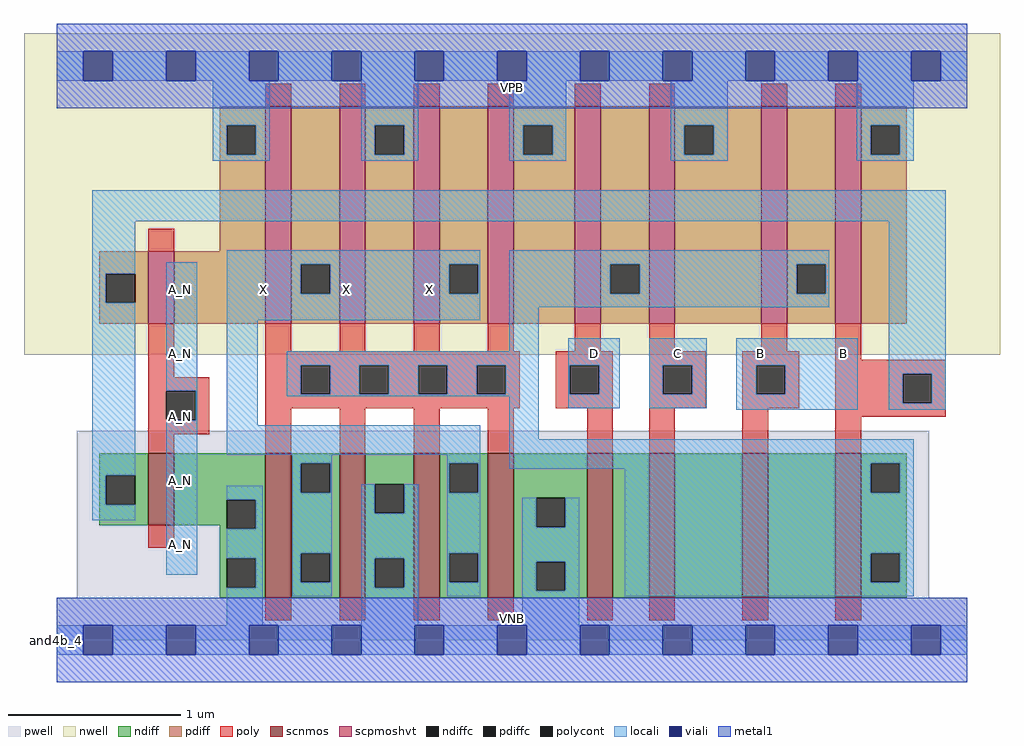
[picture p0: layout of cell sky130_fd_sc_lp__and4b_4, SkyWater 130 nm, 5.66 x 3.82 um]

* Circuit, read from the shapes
.subckt sky130_fd_sc_lp__and4b_4 A_N B C D VGND VNB VPB VPWR X
XM1 VGND A_N n1 VNB sky130_fd_pr__nfet_01v8 w=0.42 l=0.15
XM2 X n2 VGND VNB sky130_fd_pr__nfet_01v8 w=0.84 l=0.15 m=4
XM3 n3 D VGND VNB sky130_fd_pr__nfet_01v8 w=0.84 l=0.15
XM4 n4 C n3 VNB sky130_fd_pr__nfet_01v8 w=0.84 l=0.15
XM5 n5 B n4 VNB sky130_fd_pr__nfet_01v8 w=0.84 l=0.15
XM6 n2 n1 n5 VNB sky130_fd_pr__nfet_01v8 w=0.84 l=0.15
XM7 VPWR A_N n1 VPB sky130_fd_pr__pfet_01v8_hvt w=0.42 l=0.15
XM8 X n2 VPWR VPB sky130_fd_pr__pfet_01v8_hvt w=1.26 l=0.15 m=4
XM9 n2 D VPWR VPB sky130_fd_pr__pfet_01v8_hvt w=1.26 l=0.15
XM10 VPWR C n2 VPB sky130_fd_pr__pfet_01v8_hvt w=1.26 l=0.15
XM11 n2 B VPWR VPB sky130_fd_pr__pfet_01v8_hvt w=1.26 l=0.15
XM12 VPWR n1 n2 VPB sky130_fd_pr__pfet_01v8_hvt w=1.26 l=0.15
.ends

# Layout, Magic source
magic
tech sky130A
magscale 1 2
<< nwell >>
rect -38 331 1094 704
<< pwell >>
rect 23 49 1012 243
rect 0 0 1056 49
<< scnmos >>
rect 106 133 136 217
rect 242 49 272 217
rect 328 49 358 217
rect 414 49 444 217
rect 500 49 530 217
rect 615 49 645 217
rect 687 49 717 217
rect 795 49 825 217
rect 903 49 933 217
<< scpmoshvt >>
rect 106 367 136 451
rect 242 367 272 619
rect 328 367 358 619
rect 414 367 444 619
rect 500 367 530 619
rect 601 367 631 619
rect 687 367 717 619
rect 817 367 847 619
rect 903 367 933 619
<< ndiff >>
rect 49 191 106 217
rect 49 157 57 191
rect 91 157 106 191
rect 49 133 106 157
rect 136 163 242 217
rect 136 133 197 163
rect 189 129 197 133
rect 231 129 242 163
rect 189 95 242 129
rect 189 61 197 95
rect 231 61 242 95
rect 189 49 242 61
rect 272 205 328 217
rect 272 171 283 205
rect 317 171 328 205
rect 272 101 328 171
rect 272 67 283 101
rect 317 67 328 101
rect 272 49 328 67
rect 358 181 414 217
rect 358 147 369 181
rect 403 147 414 181
rect 358 95 414 147
rect 358 61 369 95
rect 403 61 414 95
rect 358 49 414 61
rect 444 205 500 217
rect 444 171 455 205
rect 489 171 500 205
rect 444 101 500 171
rect 444 67 455 101
rect 489 67 500 101
rect 444 49 500 67
rect 530 165 615 217
rect 530 131 556 165
rect 590 131 615 165
rect 530 91 615 131
rect 530 57 556 91
rect 590 57 615 91
rect 530 49 615 57
rect 645 49 687 217
rect 717 49 795 217
rect 825 49 903 217
rect 933 205 986 217
rect 933 171 944 205
rect 978 171 986 205
rect 933 101 986 171
rect 933 67 944 101
rect 978 67 986 101
rect 933 49 986 67
<< pdiff >>
rect 189 597 242 619
rect 189 563 197 597
rect 231 563 242 597
rect 189 451 242 563
rect 49 425 106 451
rect 49 391 57 425
rect 91 391 106 425
rect 49 367 106 391
rect 136 367 242 451
rect 272 436 328 619
rect 272 402 283 436
rect 317 402 328 436
rect 272 367 328 402
rect 358 597 414 619
rect 358 563 369 597
rect 403 563 414 597
rect 358 367 414 563
rect 444 436 500 619
rect 444 402 455 436
rect 489 402 500 436
rect 444 367 500 402
rect 530 597 601 619
rect 530 563 541 597
rect 575 563 601 597
rect 530 367 601 563
rect 631 436 687 619
rect 631 402 642 436
rect 676 402 687 436
rect 631 367 687 402
rect 717 597 817 619
rect 717 563 728 597
rect 762 563 817 597
rect 717 367 817 563
rect 847 436 903 619
rect 847 402 858 436
rect 892 402 903 436
rect 847 367 903 402
rect 933 597 986 619
rect 933 563 944 597
rect 978 563 986 597
rect 933 367 986 563
<< ndiffc >>
rect 57 157 91 191
rect 197 129 231 163
rect 197 61 231 95
rect 283 171 317 205
rect 283 67 317 101
rect 369 147 403 181
rect 369 61 403 95
rect 455 171 489 205
rect 455 67 489 101
rect 556 131 590 165
rect 556 57 590 91
rect 944 171 978 205
rect 944 67 978 101
<< pdiffc >>
rect 197 563 231 597
rect 57 391 91 425
rect 283 402 317 436
rect 369 563 403 597
rect 455 402 489 436
rect 541 563 575 597
rect 642 402 676 436
rect 728 563 762 597
rect 858 402 892 436
rect 944 563 978 597
<< poly >>
rect 242 619 272 645
rect 328 619 358 645
rect 414 619 444 645
rect 500 619 530 645
rect 601 619 631 645
rect 687 619 717 645
rect 817 619 847 645
rect 903 619 933 645
rect 106 451 136 477
rect 106 305 136 367
rect 242 335 272 367
rect 328 335 358 367
rect 414 335 444 367
rect 500 335 530 367
rect 601 335 631 367
rect 687 335 717 367
rect 817 335 847 367
rect 242 319 537 335
rect 106 289 177 305
rect 106 255 127 289
rect 161 255 177 289
rect 106 239 177 255
rect 242 285 283 319
rect 317 285 351 319
rect 385 285 419 319
rect 453 285 487 319
rect 521 285 537 319
rect 242 269 537 285
rect 579 319 645 335
rect 579 285 595 319
rect 629 285 645 319
rect 579 269 645 285
rect 106 217 136 239
rect 242 217 272 269
rect 328 217 358 269
rect 414 217 444 269
rect 500 217 530 269
rect 615 217 645 269
rect 687 319 753 335
rect 687 285 703 319
rect 737 285 753 319
rect 687 269 753 285
rect 795 319 861 335
rect 795 285 811 319
rect 845 285 861 319
rect 795 269 861 285
rect 903 325 933 367
rect 903 309 1031 325
rect 903 275 981 309
rect 1015 275 1031 309
rect 687 217 717 269
rect 795 217 825 269
rect 903 259 1031 275
rect 903 217 933 259
rect 106 107 136 133
rect 242 23 272 49
rect 328 23 358 49
rect 414 23 444 49
rect 500 23 530 49
rect 615 23 645 49
rect 687 23 717 49
rect 795 23 825 49
rect 903 23 933 49
<< polycont >>
rect 127 255 161 289
rect 283 285 317 319
rect 351 285 385 319
rect 419 285 453 319
rect 487 285 521 319
rect 595 285 629 319
rect 703 285 737 319
rect 811 285 845 319
rect 981 275 1015 309
<< locali >>
rect 0 649 31 683
rect 65 649 127 683
rect 161 649 223 683
rect 257 649 319 683
rect 353 649 415 683
rect 449 649 511 683
rect 545 649 607 683
rect 641 649 703 683
rect 737 649 799 683
rect 833 649 895 683
rect 929 649 991 683
rect 1025 649 1056 683
rect 181 597 247 649
rect 181 563 197 597
rect 231 563 247 597
rect 181 556 247 563
rect 353 597 419 649
rect 353 563 369 597
rect 403 563 419 597
rect 353 556 419 563
rect 525 597 591 649
rect 525 563 541 597
rect 575 563 591 597
rect 525 556 591 563
rect 712 597 778 649
rect 712 563 728 597
rect 762 563 778 597
rect 712 556 778 563
rect 928 597 994 649
rect 928 563 944 597
rect 978 563 994 597
rect 928 556 994 563
rect 41 486 1031 522
rect 41 425 91 486
rect 41 391 57 425
rect 41 191 91 391
rect 41 157 57 191
rect 41 139 91 157
rect 127 289 163 438
rect 161 255 163 289
rect 127 76 163 255
rect 197 436 491 452
rect 197 402 283 436
rect 317 402 455 436
rect 489 402 491 436
rect 197 371 491 402
rect 525 436 896 452
rect 525 402 642 436
rect 676 402 858 436
rect 892 402 896 436
rect 525 386 896 402
rect 197 249 233 371
rect 525 335 559 386
rect 267 319 559 335
rect 267 285 283 319
rect 317 285 351 319
rect 385 285 419 319
rect 453 285 487 319
rect 521 285 559 319
rect 267 283 559 285
rect 197 215 491 249
rect 273 205 319 215
rect 197 163 239 179
rect 231 129 239 163
rect 197 95 239 129
rect 231 61 239 95
rect 197 17 239 61
rect 273 171 283 205
rect 317 171 319 205
rect 453 205 491 215
rect 273 101 319 171
rect 273 67 283 101
rect 317 67 319 101
rect 273 51 319 67
rect 353 147 369 181
rect 403 147 419 181
rect 353 95 419 147
rect 353 61 369 95
rect 403 61 419 95
rect 353 17 419 61
rect 453 171 455 205
rect 489 171 491 205
rect 525 233 559 283
rect 593 319 653 350
rect 593 285 595 319
rect 629 285 653 319
rect 593 269 653 285
rect 687 319 754 350
rect 687 285 703 319
rect 737 285 754 319
rect 687 269 754 285
rect 788 319 929 350
rect 788 285 811 319
rect 845 285 929 319
rect 788 267 929 285
rect 965 309 1031 486
rect 965 275 981 309
rect 1015 275 1031 309
rect 965 267 1031 275
rect 525 205 994 233
rect 525 199 944 205
rect 453 101 491 171
rect 659 171 944 199
rect 978 171 994 205
rect 453 67 455 101
rect 489 67 491 101
rect 453 51 491 67
rect 540 131 556 165
rect 590 131 606 165
rect 540 91 606 131
rect 540 57 556 91
rect 590 57 606 91
rect 540 17 606 57
rect 659 101 994 171
rect 659 67 944 101
rect 978 67 994 101
rect 659 51 994 67
rect 0 -17 31 17
rect 65 -17 127 17
rect 161 -17 223 17
rect 257 -17 319 17
rect 353 -17 415 17
rect 449 -17 511 17
rect 545 -17 607 17
rect 641 -17 703 17
rect 737 -17 799 17
rect 833 -17 895 17
rect 929 -17 991 17
rect 1025 -17 1056 17
<< viali >>
rect 31 649 65 683
rect 127 649 161 683
rect 223 649 257 683
rect 319 649 353 683
rect 415 649 449 683
rect 511 649 545 683
rect 607 649 641 683
rect 703 649 737 683
rect 799 649 833 683
rect 895 649 929 683
rect 991 649 1025 683
rect 31 -17 65 17
rect 127 -17 161 17
rect 223 -17 257 17
rect 319 -17 353 17
rect 415 -17 449 17
rect 511 -17 545 17
rect 607 -17 641 17
rect 703 -17 737 17
rect 799 -17 833 17
rect 895 -17 929 17
rect 991 -17 1025 17
<< metal1 >>
rect 0 683 1056 715
rect 0 649 31 683
rect 65 649 127 683
rect 161 649 223 683
rect 257 649 319 683
rect 353 649 415 683
rect 449 649 511 683
rect 545 649 607 683
rect 641 649 703 683
rect 737 649 799 683
rect 833 649 895 683
rect 929 649 991 683
rect 1025 649 1056 683
rect 0 617 1056 649
rect 0 17 1056 49
rect 0 -17 31 17
rect 65 -17 127 17
rect 161 -17 223 17
rect 257 -17 319 17
rect 353 -17 415 17
rect 449 -17 511 17
rect 545 -17 607 17
rect 641 -17 703 17
rect 737 -17 799 17
rect 833 -17 895 17
rect 929 -17 991 17
rect 1025 -17 1056 17
rect 0 -49 1056 -17
<< labels >>
flabel pwell s 0 0 1056 49 0 FreeSans 200 0 0 0 VNB
port 6 nsew ground bidirectional
flabel nwell s 0 617 1056 666 0 FreeSans 200 0 0 0 VPB
port 7 nsew power bidirectional
rlabel comment s 0 0 0 0 4 and4b_4
flabel metal1 s 0 617 1056 666 0 FreeSans 340 0 0 0 VPWR
port 8 nsew power bidirectional
flabel metal1 s 0 0 1056 49 0 FreeSans 340 0 0 0 VGND
port 5 nsew ground bidirectional
flabel locali s 799 316 833 350 0 FreeSans 340 0 0 0 B
port 2 nsew signal input
flabel locali s 895 316 929 350 0 FreeSans 340 0 0 0 B
port 2 nsew signal input
flabel locali s 703 316 737 350 0 FreeSans 340 0 0 0 C
port 3 nsew signal input
flabel locali s 607 316 641 350 0 FreeSans 340 0 0 0 D
port 4 nsew signal input
flabel locali s 127 94 161 128 0 FreeSans 340 0 0 0 A_N
port 1 nsew signal input
flabel locali s 127 168 161 202 0 FreeSans 340 0 0 0 A_N
port 1 nsew signal input
flabel locali s 127 242 161 276 0 FreeSans 340 0 0 0 A_N
port 1 nsew signal input
flabel locali s 127 316 161 350 0 FreeSans 340 0 0 0 A_N
port 1 nsew signal input
flabel locali s 127 390 161 424 0 FreeSans 340 0 0 0 A_N
port 1 nsew signal input
flabel locali s 223 390 257 424 0 FreeSans 340 0 0 0 X
port 9 nsew signal output
flabel locali s 319 390 353 424 0 FreeSans 340 0 0 0 X
port 9 nsew signal output
flabel locali s 415 390 449 424 0 FreeSans 340 0 0 0 X
port 9 nsew signal output
<< properties >>
string LEFsite unit
string LEFclass CORE
string FIXED_BBOX 0 0 1056 666
string GDS_FILE $PDKPATH/libs.ref/sky130_fd_sc_lp/gds/sky130_fd_sc_lp.gds
string LEFsymmetry X Y R90
string GDS_END 5337754
string GDS_START 5329562
<< end >>
